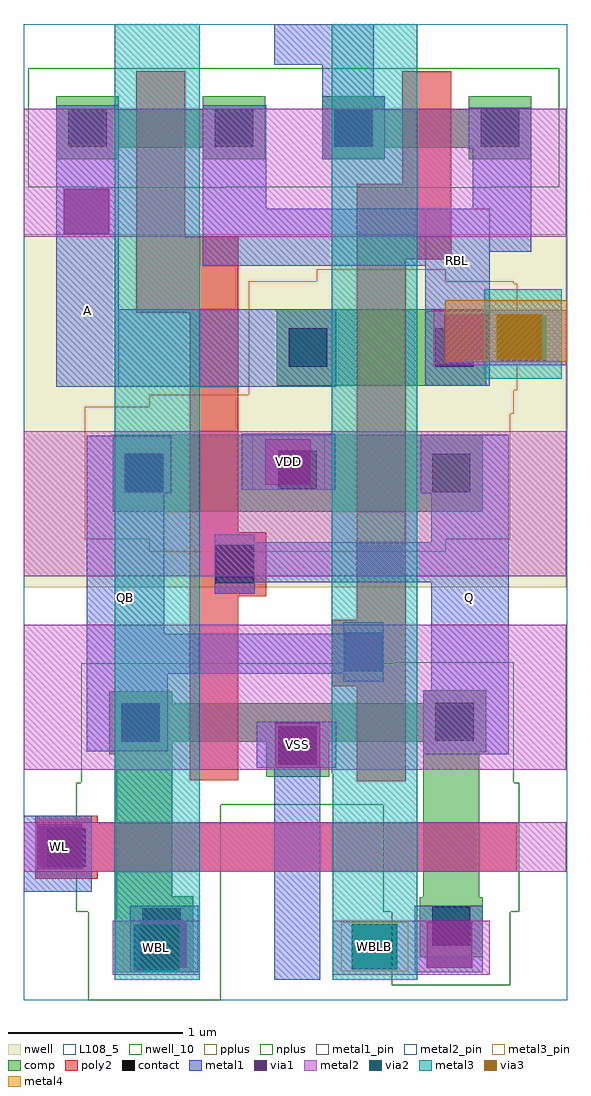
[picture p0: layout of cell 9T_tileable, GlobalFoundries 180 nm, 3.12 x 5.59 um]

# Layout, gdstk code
import gdstk
lib = gdstk.Library(unit=1e-6, precision=1e-09)
def R(c, l, rs):  # rectangles x0, y0, x1, y1
    for r in rs: c.add(gdstk.rectangle(r[:2], r[2:], *l))
nwell = (21, 0)
nwell_10 = (21, 10)
comp = (22, 0)
poly2 = (30, 0)
pplus = (31, 0)
nplus = (32, 0)
contact = (33, 0)
metal1 = (34, 0)
metal1_pin = (34, 10)
via1 = (35, 0)
metal2 = (36, 0)
metal2_pin = (36, 10)
via2 = (38, 0)
via3 = (40, 0)
metal3 = (42, 0)
metal3_pin = (42, 10)
metal4 = (46, 0)
L108_5 = (108, 5)

c_9t_tileable = lib.new_cell('9T_tileable')
R(c_9t_tileable, nwell, [(-0.715,-0.395,2.395,1.63)])
R(c_9t_tileable, nwell_10, [(0.595,0.165,1.01,0.485)])
R(c_9t_tileable, comp, [(-0.185,-2.6,0.255,-2.165), (1.555,-2.515,1.915,-2.17), (1.575,-2.17,1.895,-1.34), (-0.185,-2.165,0.135,-1.35), (0.675,-1.48,1.035,-1.28), (-0.225,-1.35,0.135,-1.28), (1.575,-1.34,1.935,-1.28), (-0.225,-1.28,1.935,-1.06), (-0.225,-1.06,0.135,-0.99), (1.575,-1.06,1.935,-0.985), (-0.205,0.04,1.915,0.48), (0.735,0.76,1.935,0.895), (0.735,0.895,1.955,1.185), (0.735,1.185,1.935,1.2), (-0.53,2.06,-0.17,2.125), (0.31,2.06,0.67,2.125), (0.995,2.06,1.355,2.125), (1.835,2.06,2.195,2.125), (-0.53,2.125,0.67,2.345), (0.995,2.125,2.195,2.345), (-0.53,2.345,-0.17,2.42), (0.31,2.345,0.67,2.42), (0.995,2.345,1.355,2.42), (1.835,2.345,2.195,2.42)])
R(c_9t_tileable, poly2, [(-0.65,-2.065,-0.29,-2.025), (-0.65,-2.025,2.115,-1.745), (-0.65,-1.745,-0.29,-1.705), (1.195,-1.505,1.475,-0.96), (0.235,-1.5,0.515,-0.445), (1.05,-0.96,1.475,-0.58), (1.195,-0.58,1.475,1.485), (0.235,-0.445,0.675,-0.08), (0.235,-0.08,0.515,1.18), (-0.07,1.18,0.515,1.615), (1.195,1.485,1.735,1.92), (-0.07,1.615,0.21,2.565), (1.455,1.92,1.735,2.565)])
R(c_9t_tileable, pplus, [(0.005,-0.19,1.705,-0.12), (-0.365,-0.12,2.075,0.6), (-0.365,0.6,2.095,0.64), (0.005,0.64,2.095,0.71), (0.575,0.71,2.095,0.735), (0.575,0.735,2.115,1.345), (0.575,1.345,2.095,1.36), (0.965,1.36,1.705,1.43)])
R(c_9t_tileable, nplus, [(-0.345,-2.76,0.415,-2.255), (1.395,-2.675,2.075,-2.255), (-0.415,-2.255,0.415,-1.64), (1.345,-2.255,2.125,-1.64), (-0.415,-1.64,2.125,-1.515), (-0.385,-1.515,2.095,-0.83), (1.415,-0.83,2.095,-0.825), (-0.3,1.895,0.44,1.9), (1.225,1.895,1.965,1.9), (-0.69,1.9,2.355,2.58)])
R(c_9t_tileable, contact, [(-0.035,-2.455,0.185,-2.235), (1.625,-2.445,1.845,-2.225), (-0.58,-1.995,-0.36,-1.775), (0.745,-1.41,0.965,-1.19), (-0.155,-1.28,0.065,-1.06), (1.645,-1.275,1.865,-1.055), (1.12,-0.875,1.34,-0.655), (0.385,-0.37,0.605,-0.15), (-0.135,0.15,0.085,0.37), (1.625,0.15,1.845,0.37), (0.745,0.17,0.965,0.39), (0.805,0.87,1.025,1.09), (1.645,0.87,1.865,1.09), (-0.46,2.13,-0.24,2.35), (0.38,2.13,0.6,2.35), (1.065,2.13,1.285,2.35), (1.905,2.13,2.125,2.35)])
R(c_9t_tileable, metal1, [(0.72,-2.645,0.985,-1.43), (-0.105,-2.6,0.285,-2.22), (1.525,-2.6,1.915,-2.22), (-0.715,-2.14,-0.325,-1.705), (0.62,-1.43,1.075,-1.165), (1.575,-1.35,2.065,-0.985), (-0.355,-1.335,0.11,-0.89), (1.62,-0.985,2.065,-0.365), (1.115,-0.935,1.345,-0.89), (-0.355,-0.89,1.345,-0.66), (-0.355,-0.66,0.09,0.145), (1.115,-0.66,1.345,-0.595), (0.38,-0.43,0.61,-0.365), (0.38,-0.365,2.065,-0.135), (0.38,-0.135,0.61,-0.09), (1.62,-0.135,2.065,0.145), (-0.355,0.145,0.13,0.475), (1.56,0.145,2.065,0.48), (0.535,0.165,1.07,0.485), (-0.53,0.755,1.075,1.2), (1.585,0.76,1.955,1.45), (-0.53,1.2,-0.17,2.37), (0.31,1.45,1.955,1.53), (0.31,1.53,2.195,1.775), (0.31,1.775,0.675,2.37), (1.86,1.775,2.195,2.12), (0.995,2.06,1.355,2.42), (1.835,2.12,2.195,2.355), (0.995,2.42,1.29,2.6), (0.72,2.6,1.29,2.835)])
R(c_9t_tileable, metal1_pin, [(-0.53,0.755,-0.17,1.63), (1.585,1.185,1.955,1.775)])
R(c_9t_tileable, via1, [(-0.045,-2.575,0.215,-2.315), (1.595,-2.575,1.855,-2.315), (-0.64,-2.01,-0.38,-1.75), (0.725,-1.43,0.985,-1.17), (0.67,0.195,0.93,0.455), (1.695,0.91,1.955,1.17), (-0.485,1.63,-0.225,1.89)])
R(c_9t_tileable, metal2, [(-0.205,-2.615,0.295,-2.305), (1.055,-2.615,1.955,-2.305), (-0.715,-2.025,2.395,-1.74), (-0.715,-1.44,2.395,-0.61), (-0.715,-0.33,2.395,0.5), (1.635,0.88,2.395,1.195), (-0.715,1.615,2.395,2.35)])
R(c_9t_tileable, metal2_pin, [(-0.64,-2.01,-0.38,-1.75), (0.725,-1.43,0.985,-1.165)])
R(c_9t_tileable, via2, [(-0.085,-2.59,0.175,-2.33), (1.165,-2.585,1.425,-2.325), (2.02,0.905,2.28,1.165)])
R(c_9t_tileable, via3, [(1.995,0.91,2.255,1.17)])
R(c_9t_tileable, metal3, [(-0.195,-2.645,0.295,2.835), (1.055,-2.645,1.54,-1.46), (1.05,-1.46,1.54,2.835), (1.925,0.8,2.37,1.315)])
R(c_9t_tileable, metal3_pin, [(-0.145,-2.6,0.24,-2.32), (1.105,-2.595,1.49,-2.315)])
R(c_9t_tileable, metal4, [(1.7,0.9,2.4,1.25)])
R(c_9t_tileable, L108_5, [(-0.715,-2.76,2.4,2.835)])
c_9t_tileable.add(gdstk.Label('Q', (1.842,-0.452), layer=34, texttype=0))
c_9t_tileable.add(gdstk.Label('QB', (-0.132,-0.455), layer=34, texttype=0))
c_9t_tileable.add(gdstk.Label('WBL', (0.047,-2.46), layer=42, texttype=10))
c_9t_tileable.add(gdstk.Label('WBLB', (1.297,-2.455), layer=36, texttype=10))
c_9t_tileable.add(gdstk.Label('WL', (-0.51,-1.88), layer=36, texttype=10))
c_9t_tileable.add(gdstk.Label('VSS', (0.855,-1.297), layer=36, texttype=10))
c_9t_tileable.add(gdstk.Label('A', (-0.35,1.192), layer=34, texttype=10))
c_9t_tileable.add(gdstk.Label('RBL', (1.77,1.48), layer=34, texttype=10))
c_9t_tileable.add(gdstk.Label('VDD', (0.802,0.325), layer=21, texttype=10))

lib.write_gds('9T_tileable.gds')
